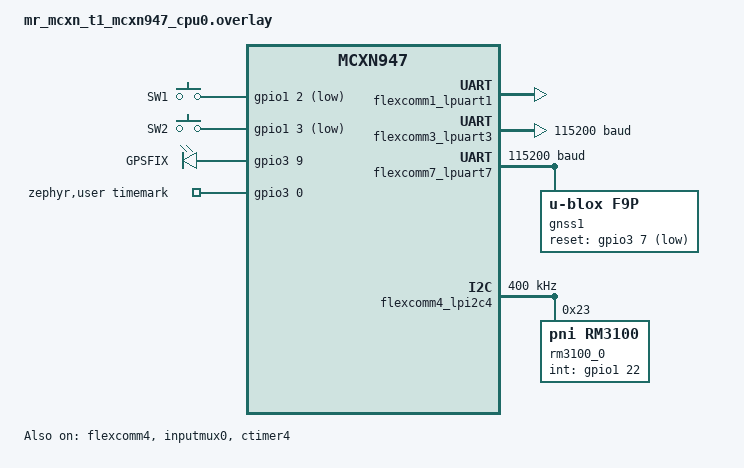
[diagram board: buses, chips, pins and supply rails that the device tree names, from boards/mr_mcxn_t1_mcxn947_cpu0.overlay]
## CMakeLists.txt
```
#-------------------------------------------------------------------------------
# Zephyr Spinali Application
#
# Copyright (c) 2023 CogniPilot Foundation
# SPDX-License-Identifier: Apache-2.0

cmake_minimum_required(VERSION 3.13.1)

set(SPINALI_SYNAPSE_FBS_ROOT "" CACHE PATH "Generated Synapse C package")
if(NOT SPINALI_SYNAPSE_FBS_ROOT AND DEFINED ENV{SPINALI_SYNAPSE_FBS_ROOT})
  set(SPINALI_SYNAPSE_FBS_ROOT "$ENV{SPINALI_SYNAPSE_FBS_ROOT}" CACHE PATH
    "Generated Synapse C package" FORCE)
endif()
if(SPINALI_SYNAPSE_FBS_ROOT)
  list(APPEND ZEPHYR_EXTRA_MODULES ${SPINALI_SYNAPSE_FBS_ROOT})
endif()

find_package(Zephyr REQUIRED HINTS $ENV{ZEPHYR_BASE})

project(rtk_gnss LANGUAGES C)

# Validate HCDF SHA at build time
if(DEFINED ZEPHYR_HCDF_MODELS_MODULE_DIR)
  include(${ZEPHYR_HCDF_MODELS_MODULE_DIR}/cmake/hcdf.cmake)
  hcdf_validate_sha(BOARD mr_mcxn_t1 DEVICE rtk-gnss)
endif()

set(flags
  -std=c11
  -Wall
  -Wextra
  -Werror
  -Wstrict-prototypes
  -Waggregate-return
  -Wbad-function-cast
  -Wcast-align
  -Wcast-qual
  -Wfloat-equal
  -Wformat-security
  -Wlogical-op
  -Wmissing-declarations
  -Wmissing-include-dirs
  -Wmissing-prototypes
  -Wnested-externs
  -Wpointer-arith
  -Wredundant-decls
  -Wsequence-point
  -Wshadow
  -Wstrict-prototypes
  -Wswitch
  -Wundef
  -Wunreachable-code
  -Wunused-but-set-parameter
  -Wwrite-strings
  )
string(JOIN " " flags ${flags})

set(SOURCE_FILES
  src/boot_banner.c
  )

set_source_files_properties(
  ${SOURCE_FILES}
  PROPERTIES COMPILE_FLAGS
  "${flags}"
  )

target_sources(app PRIVATE ${SOURCE_FILES})

if(CONFIG_SPINALI_SYNAPSE_WIRE)
  if(NOT TARGET synapse_fbs::wire)
    message(FATAL_ERROR
      "SPINALI_SYNAPSE_FBS_ROOT must provide synapse_fbs::wire. "
      "Generate the package with scripts/synapse_fbs_package and set "
      "SPINALI_SYNAPSE_FBS_ROOT to its printed path."
    )
  endif()
  target_link_libraries(app PRIVATE synapse_fbs::wire)
endif()

if(CONFIG_SPINALI_SYNAPSE_ROS_CDR)
  if(NOT TARGET synapse_fbs::cdr)
    message(FATAL_ERROR
      "SPINALI_SYNAPSE_FBS_ROOT must provide synapse_fbs::cdr. "
      "Generate the package with scripts/synapse_fbs_package and set "
      "SPINALI_SYNAPSE_FBS_ROOT to its printed path."
    )
  endif()
  target_link_libraries(app PRIVATE synapse_fbs::cdr)
endif()

target_include_directories(app SYSTEM BEFORE PRIVATE ${ZEPHYR_BASE}/include ${CMAKE_BINARY_DIR})

# vi: ts=2 sw=2 et
```

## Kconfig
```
# Copyright (c) 2023, CogniPilot Foundation
# SPDX-License-Identifier: Apache-2.0

mainmenu "CogniPilot - SPINALI - RTK GNSS"
menu "Zephyr"
source "Kconfig.zephyr"
endmenu

menu "RTK_GNSS"

config SPINALI_RTK_GNSS_LIGHTING
  bool "enable lighting"
  help
    Enable lighting

module = SPINALI_RTK_GNSS
module-str = spinali_rtk_gnss
source "subsys/logging/Kconfig.template.log_config"
endmenu
```

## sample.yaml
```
sample:
  description: rtk_gnss
  name: rtk_gnss
common:
  build_only: true
tests:
  rtk_gnss.mr_mcxn_t1/mcxn947/cpu0:
    tags:
      - rtk_gnss
    integration_platforms:
      - mr_mcxn_t1/mcxn947/cpu0
```

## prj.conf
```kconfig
CONFIG_SPINALI=y
CONFIG_SPINALI_APP_NAME="RTK GNSS"

CONFIG_ZCBOR=y
CONFIG_MCUMGR=y
CONFIG_MCUMGR_TRANSPORT_UDP=y
CONFIG_MCUMGR_TRANSPORT_UDP_IPV6=y
CONFIG_MCUMGR_GRP_OS=y
CONFIG_MCUMGR_GRP_OS_INFO=y
CONFIG_MCUMGR_GRP_OS_INFO_CUSTOM_HOOKS=y
CONFIG_MCUMGR_MGMT_NOTIFICATION_HOOKS=y
CONFIG_HWINFO=y
CONFIG_MCUMGR_GRP_OS_BOOTLOADER_INFO=y
CONFIG_MCUMGR_GRP_OS_MCUMGR_PARAMS=y
CONFIG_THREAD_MONITOR=y
CONFIG_THREAD_NAME=y
CONFIG_MCUMGR_GRP_OS_TASKSTAT=y
CONFIG_MCUMGR_GRP_OS_TASKSTAT_USE_THREAD_NAME_FOR_NAME=y
CONFIG_THREAD_STACK_INFO=y
CONFIG_FLASH=y
CONFIG_FLASH_MAP=y
CONFIG_IMG_MANAGER=y
CONFIG_STREAM_FLASH=y
CONFIG_MCUMGR_GRP_IMG=y
CONFIG_MCUMGR_GRP_IMG_SLOT_INFO=y
CONFIG_SHELL_BACKEND_DUMMY=y
CONFIG_BASE64=y
CONFIG_MCUMGR_GRP_SHELL=y
CONFIG_STATS=y
CONFIG_STATS_NAMES=y
CONFIG_MCUMGR_GRP_STAT=y
CONFIG_SYS_CLOCK_TICKS_PER_SEC=10000
CONFIG_TICKLESS_KERNEL=n
CONFIG_I3C=n
CONFIG_TEST_RANDOM_GENERATOR=y
CONFIG_FPU=y

CONFIG_NET_BUF_RX_COUNT=24
CONFIG_NET_PKT_RX_COUNT=24

# Sensor streaming
CONFIG_ZROS_SENSE_GNSS=y

# GNSS Configuration
CONFIG_GNSS=y
CONFIG_GNSS_SATELLITES=y
CONFIG_GNSS_LOG_LEVEL_DBG=y
CONFIG_GNSS_U_BLOX_F9P_TIMEPULSE=y

# GNSS PPS discipline: CTIMER capture of TIMEPULSE + ENET QoS PHC
CONFIG_SPINALI_TIMING=y
CONFIG_COUNTER=y
CONFIG_COUNTER_MCUX_CTIMER=y
CONFIG_COUNTER_CAPTURE=y
CONFIG_PTP_CLOCK=y

# RTC (FRO16K; boot-time seed / GNSS-set wall clock)
CONFIG_RTC=y
CONFIG_RTC_SHELL=y

# gPTP grandmaster (IEEE 802.1AS) serving GNSS-disciplined time.
# The node boots at the honest defaults (clockClass 248, timeSource
# internal oscillator): clockClass and timeSource are owned at runtime
# by the PPS servo, which promotes to clockClass 6 / timeSource GPS on
# lock and demotes to clockClass 7 on holdover. Accuracy 100 ns is the
# locked servo performance and applies once promoted.
CONFIG_NET_GPTP=y
CONFIG_NET_GPTP_GM_CAPABLE=y
CONFIG_NET_GPTP_INIT_LOG_SYNC_ITV=-4

# RTK Support
CONFIG_GNSS_RTK=y
CONFIG_RM3100_STREAM=y

CONFIG_SHELL=y
CONFIG_SENSOR=y
CONFIG_SENSOR_SHELL=y
CONFIG_SENSOR_INFO=y

CONFIG_SPINALI_SYNAPSE_MCUMGR_HOOKS=y
CONFIG_MCUMGR_GRP_HCDF=y
CONFIG_MCUMGR_GRP_HCDF_URL="https://hcdf.cognipilot.org/mr_mcxn_t1/rtk-gnss/rtk-gnss.hcdf"
CONFIG_MCUMGR_GRP_HCDF_SHA="774ceb20"

CONFIG_SPINALI_SYNAPSE_TOPIC=y
CONFIG_SPINALI_CORE_COMMON=y
CONFIG_SPINALI_CORE_COMMON_BOOT_BANNER=y
CONFIG_ZROS=y
CONFIG_SHELL_STACK_SIZE=8192
CONFIG_INIT_STACKS=y

CONFIG_LOG=y
CONFIG_LOG_CMDS=y
CONFIG_LOG_MODE_DEFERRED=y

CONFIG_SPINALI_RTK_GNSS_LOG_LEVEL_DBG=y

CONFIG_SENSOR_SHELL_STREAM=y
CONFIG_SENSOR_SHELL_THREAD_STACK_SIZE=8192
CONFIG_SENSOR_LOG_LEVEL_DBG=n

# modules

# General config
CONFIG_MAIN_THREAD_PRIORITY=5
CONFIG_SYSTEM_WORKQUEUE_PRIORITY=-2

# Networking config
CONFIG_NET_SHELL=y
CONFIG_NETWORKING=y
# IPv6-native, router-less peer mesh, no IPv4. The node self-assigns a stable
# EUI-64 interface identifier from its role MAC, so addressing is zero-config
# and reboot-stable with no DHCP and no router. IPv6 MLD is needed to join the
# ff02:: multicast group used for peer discovery.
CONFIG_NET_IPV4=n
CONFIG_NET_IPV6=y
CONFIG_NET_IPV6_MLD=y
CONFIG_NET_IPV6_IID_EUI_64=y
CONFIG_NET_UDP=y
CONFIG_NET_TCP=y
CONFIG_NET_SOCKETS=y
CONFIG_NET_VLAN=y
CONFIG_NET_VLAN_COUNT=1
CONFIG_NET_IF_MAX_IPV6_COUNT=2
CONFIG_NET_CONTEXT_PRIORITY=y
# zenoh-pico session needs a heap pool and enough file descriptors to open
CONFIG_ZVFS_OPEN_MAX=16
CONFIG_HEAP_MEM_POOL_SIZE=49152

# Network address config
CONFIG_NET_HOSTNAME="rtk-gnss"
CONFIG_NET_CONFIG_SETTINGS=y
CONFIG_NET_STATISTICS=y
CONFIG_NET_MGMT_EVENT_INFO=y
CONFIG_NET_MGMT_EVENT_MONITOR=y
CONFIG_NET_BUF_POOL_USAGE=y
CONFIG_NET_DEBUG_NET_PKT_ALLOC=y
CONFIG_NET_CONFIG_NEED_IPV4=n
CONFIG_NET_CONFIG_MY_IPV6_ADDR=""
CONFIG_NET_CONFIG_INIT_TIMEOUT=0

# STATS
CONFIG_THREAD_RUNTIME_STATS=y
CONFIG_SCHED_THREAD_USAGE=y
CONFIG_SCHED_THREAD_USAGE_ANALYSIS=y
CONFIG_SCHED_THREAD_USAGE_ALL=y
CONFIG_SCHED_THREAD_USAGE_AUTO_ENABLE=y

CONFIG_SPEED_OPTIMIZATIONS=y
CONFIG_ZROS_SENSE_RTCM3_SUB=y

# Authoritative GNSS fix delivery to the flight controller.
CONFIG_SPINALI_SYNAPSE_WIRE=y
CONFIG_SPINALI_SYNAPSE_WIRE_TOPIC_GNSS_FIX=y
CONFIG_SPINALI_SYNAPSE_WIRE_DESTINATION="fe80::4:9fff:fe00:150"
CONFIG_SPINALI_SYNAPSE_WIRE_DESTINATION_MAC="02:04:9f:00:01:50"
CONFIG_SPINALI_SYNAPSE_WIRE_SOURCE_NODE_ID=11
CONFIG_SPINALI_SYNAPSE_WIRE_PORT=46008
CONFIG_SPINALI_SYNAPSE_WIRE_RATE_HZ=10
CONFIG_SPINALI_SYNAPSE_WIRE_PCP=5
CONFIG_SPINALI_SYNAPSE_WIRE_LOG_LEVEL_INF=y

# Optional ROS 2 mirror of the same GNSS fix through the local recorder router.
CONFIG_SYNAPSE_FBS_CDR=y
CONFIG_SPINALI_SYNAPSE_ROS_CDR=y
CONFIG_SPINALI_SYNAPSE_ROS_CDR_TOPIC_GNSS_FIX=y
CONFIG_SPINALI_SYNAPSE_ROS_CDR_RATE_HZ=10
CONFIG_SPINALI_SYNAPSE_ROS_CDR_ROUTER="udp/[fe80::f22f:74ff:fecc:4a66]:7447#iface=vlan0"
CONFIG_SPINALI_SYNAPSE_ROS_CDR_ROUTER_ADDRESS="fe80::f22f:74ff:fecc:4a66"
CONFIG_SPINALI_SYNAPSE_ROS_CDR_ROUTER_MAC="f0:2f:74:cc:4a:66"
CONFIG_SPINALI_SYNAPSE_ROS_CDR_LOG_LEVEL_INF=y

CONFIG_ZENOH_PICO=y
CONFIG_ZENOH_PICO_UNSTABLE_API=y
CONFIG_ZENOH_PICO_MULTI_THREAD=y
CONFIG_ZENOH_PICO_PUBLICATION=y
CONFIG_ZENOH_PICO_LINK_UDP_UNICAST=y
CONFIG_ZENOH_PICO_LINK_UDP_MULTICAST=n
CONFIG_ZENOH_PICO_SCOUTING=n
CONFIG_ZENOH_PICO_ZEPHYR_THREADS_NATIVE=y
CONFIG_ZENOH_PICO_ZEPHYR_TASK_POOL_SIZE=4
CONFIG_ZENOH_PICO_ZEPHYR_TASK_STACK_SIZE=4096
CONFIG_ZENOH_PICO_ZEPHYR_TASK_PRIORITY_CUSTOM=y
CONFIG_ZENOH_PICO_ZEPHYR_TASK_PRIORITY=7
CONFIG_ZENOH_PICO_ZEPHYR_SOCKET_PRIORITY=y
CONFIG_ZENOH_PICO_ZEPHYR_UNICAST_PRIORITY=5
```

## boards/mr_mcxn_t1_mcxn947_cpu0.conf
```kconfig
CONFIG_ICM45686_STREAM=y
CONFIG_BMM350_STREAM=y
CONFIG_RTIO_WORKQ_THREADS_POOL_PRIO=4
CONFIG_I2C_RTIO_SQ_SIZE=8
CONFIG_I2C_RTIO_CQ_SIZE=8

# UART for GNSS
CONFIG_SERIAL=y
CONFIG_UART_INTERRUPT_DRIVEN=y
```

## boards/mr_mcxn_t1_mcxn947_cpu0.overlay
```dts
/* SPDX-License-Identifier: Apache-2.0 */
/* Copyright 2025 CogniPilot Foundation */

#include <zephyr/dt-bindings/sensor/rm3100.h>
#include <zephyr/dt-bindings/input/input-event-codes.h>
#include <zephyr/dt-bindings/i2c/i2c.h>

/* Console on the FC1 UART (J5 debug connector). The board-level
 * i3c_workaround moved the console to USB CDC to free FC1 for the BMM350;
 * this app uses the shield RM3100 instead, so FC1 returns to UART.
 */
/delete-node/ &bmm350_0;

/ {
	chosen {
		zephyr,console = &flexcomm1_lpuart1;
		zephyr,shell-uart = &flexcomm1_lpuart1;
		zephyr,uart-mcumgr = &flexcomm1_lpuart1;
	};

	aliases {
		imu-stream-0 = &icm45686_0;
		mag-stream-0 = &rm3100_0;
		gnss = &gnss1;
	};
};

&flexcomm1_lpi2c1 {
	status = "disabled";
};

&flexcomm1_lpuart1 {
	status = "okay";
};

/* USB Shell IRQ priority lower than SPI IRQs */
&zephyr_udc0 {
	interrupts = <0x43 0x6>;
};

#include <zephyr/dt-bindings/sensor/icm45686.h>

&icm45686_0 {
	/* Configure to output 4-samples every 1.25-ms (800-Hz) */
	accel-odr = <ICM45686_DT_ACCEL_ODR_3200>;
	gyro-odr = <ICM45686_DT_GYRO_ODR_3200>;
	fifo-watermark = <4>;
	fifo-watermark-equals;
};

/* Disable icm45686_1 - FC7 is used for GNSS corrections UART */
&icm45686_1 {
	status = "disabled";
};

/* Disable optical flow board sensors - FC3 is used for GNSS UART */
&afbr_s50 {
	status = "disabled";
};

&paa3905 {
	status = "disabled";
};

&icm42688 {
	status = "disabled";
};

/* Disable optical flow SPI interfaces */
&flexcomm6_lpspi6 {
	status = "disabled";
};

&flexcomm9_lpspi9 {
	status = "disabled";
};

/* Reconfigure FlexCOMM3 from SPI (optical flow) to UART.
 * FC3 wires to the F9P's UART2 (TXD2/RXD2): spare / base-station RTCM
 * output port. Kept enabled as a plain UART.
 */
&flexcomm3_lpspi3 {
	status = "disabled";
};

&flexcomm3_lpuart3 {
	status = "okay";
	pinctrl-0 = <&pinmux_flexcomm3_lpuart>;
	pinctrl-names = "default";
	current-speed = <115200>;
};

/* GNSS primary UART: FC7 wires to the F9P's UART1 (TXD1/RXD1). */
&flexcomm7_lpspi7 {
	status = "disabled";
};

&flexcomm7_lpuart7 {
	status = "okay";
	pinctrl-0 = <&pinmux_flexcomm7_lpuart>;
	pinctrl-names = "default";
	current-speed = <115200>;

	gnss1: gnss {
		status = "okay";
		compatible = "u-blox,f9p";
		fix-rate = <100>;
		initial-baudrate = <38400>;
		reset-gpios = <&gpio3 7 GPIO_ACTIVE_LOW>;
	};
};

/* PNI RM3100 magnetometer on FC4 (P1_8 SDA / P1_9 SCL, DRDY P1_22) */
&flexcomm4 {
	status = "okay";
};

&flexcomm4_lpi2c4 {
	status = "okay";
	pinctrl-0 = <&pinmux_flexcomm4_lpi2c>;
	pinctrl-names = "default";
	clock-frequency = <I2C_BITRATE_FAST>;

	/* Address 0x23: SA0 (SSN) and SA1 (MISO) are unconnected on the
	 * shield and float high via the chip's internal pulls.
	 */
	rm3100_0: rm3100@23 {
		status = "okay";
		compatible = "pni,rm3100";
		reg = <0x23>;
		int-gpios = <&gpio1 22 GPIO_ACTIVE_HIGH>;
		odr = <RM3100_DT_ODR_150>;
	};
};

/* Pinctrl for GNSS UARTs and RM3100 I2C */
&pinctrl {
	/* F9P UART2 (TXD2/RXD2): corrections/base output port */
	pinmux_flexcomm3_lpuart: pinmux_flexcomm3_lpuart {
		group0 {
			pinmux = <FC3_P0_PIO1_0>,
				 <FC3_P1_PIO1_1>;
			slew-rate = "fast";
			drive-strength = "low";
			input-enable;
		};
	};

	/* GNSS primary UART (F9P TXD1/RXD1) */
	pinmux_flexcomm7_lpuart: pinmux_flexcomm7_lpuart {
		group0 {
			pinmux = <FC7_P0_PIO3_2>,
				 <FC7_P1_PIO3_3>;
			slew-rate = "fast";
			drive-strength = "low";
			input-enable;
		};
	};

	/* RM3100 I2C (external pull-ups on hub) */
	pinmux_flexcomm4_lpi2c: pinmux_flexcomm4_lpi2c {
		group0 {
			pinmux = <FC4_P0_PIO1_8>,
				 <FC4_P1_PIO1_9>;
			slew-rate = "fast";
			drive-strength = "low";
			drive-open-drain;
			input-enable;
		};
	};

	/* F9P TIMEPULSE on P3_8 as CTIMER capture input (CT_INP4) */
	pinmux_ctimer_pps: pinmux_ctimer_pps {
		group0 {
			pinmux = <CT_INP4_PIO3_8>;
			slew-rate = "fast";
			drive-strength = "low";
			input-enable;
		};
	};
};

/* INPUTMUX: routes CT_INP4 onto CTIMER4 capture channel 0. The SoC dtsi
 * models inputmux0 (disabled) at offset 0x6000 in the peripheral space
 * (0x50006000 secure alias); enable it here for the capture route.
 */
&inputmux0 {
	status = "okay";
};

/* CTIMER4 hardware-captures the F9P TIMEPULSE edge. board.c attaches
 * PLL0 (150 MHz, div 1) when this node is enabled - the same clock
 * domain as the ENET QoS PTP reference, so captured ticks translate
 * exactly to PHC time. 0x1C000004 = kINPUTMUX_CtimerInp4ToTimer4Captsel.
 */
&ctimer4 {
	status = "okay";
	pinctrl-0 = <&pinmux_ctimer_pps>;
	pinctrl-names = "default";
	mux-states = <&inputmux0 0 0x1C000004>;
};

/* Role-derived interface identity for node 11 (rtk_gnss).
 * Locally administered MAC whose final 12 bits read as the decimal node id
 * followed by a zero in hex, so node 11 is 02:04:9f:00:01:10. The EUI-64
 * IPv6 link-local address follows from it as fe80::4:9fff:fe00:110. The role
 * MAC replaces the silicon-derived nxp,unique-mac from the board dtsi (the
 * enet-qos driver honors local-mac-address only when nxp,unique-mac is
 * absent), so the firmware image is identical across hardware sets. The gPTP
 * clock identity is derived from this MAC, which is intended.
 */
&enet_mac {
	/delete-property/ nxp,unique-mac;
	local-mac-address = [ 02 04 9f 00 01 10 ];
};

/* ENET QoS PTP hardware clock (PHC): the clock being disciplined. */
&enet_ptp_clock {
	status = "okay";
};

/* User buttons and GNSS fix LED. (The F9P timepulse on P3_8 is muxed
 * to CT_INP4 for CTIMER capture - see pinmux_ctimer_pps/&ctimer4 -
 * not claimed as a GPIO.)
 */
/ {
	gpio_keys {
		compatible = "gpio-keys";
		button_sw1: button_sw1 {
			gpios = <&gpio1 2 GPIO_ACTIVE_LOW>;
			label = "SW1";
			zephyr,code = <INPUT_KEY_0>;
		};
		button_sw2: button_sw2 {
			gpios = <&gpio1 3 GPIO_ACTIVE_LOW>;
			label = "SW2";
			zephyr,code = <INPUT_KEY_1>;
		};
	};

	gnss_leds {
		compatible = "gpio-leds";
		led_gpsfix: led_gpsfix {
			gpios = <&gpio3 9 GPIO_ACTIVE_HIGH>;
			label = "GPSFIX";
		};
	};

	/* P3_0 reaches the F9P's EXTINT input through a 0R link on the
	 * shield. Driven as a plain output (idle low, pulsed high) to
	 * mark a PHC-timed edge the receiver timestamps in GNSS time,
	 * which measures absolute grandmaster error.
	 */
	zephyr,user {
		timemark-gpios = <&gpio3 0 GPIO_ACTIVE_HIGH>;
	};
};
```

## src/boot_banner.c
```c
/*
 * Copyright (c) 2023 CogniPilot Foundation
 * SPDX-License-Identifier: Apache-2.0
 */

#include <zephyr/kernel.h>
#include <zephyr/logging/log.h>

#if defined(CONFIG_SPINALI_CORE_COMMON_BOOT_BANNER)
#include <stdio.h>
#endif

#include <spinali/core/common.h>

LOG_MODULE_REGISTER(rtk_gnss_boot_banner, CONFIG_SPINALI_RTK_GNSS_LOG_LEVEL);

static int rtk_gnss_boot_banner_sys_init(void)
{
	LOG_INF("Spinali RTK GNSS %d.%d.%d", CONFIG_SPINALI_VERSION_MAJOR,
		CONFIG_SPINALI_VERSION_MINOR, CONFIG_SPINALI_VERSION_PATCH);
#if defined(CONFIG_SPINALI_CORE_COMMON_BOOT_BANNER)
	printf("%s", banner_spinali);
#endif
	return 0;
};

SYS_INIT(rtk_gnss_boot_banner_sys_init, APPLICATION, 0);

// vi: ts=4 sw=4 et
```
